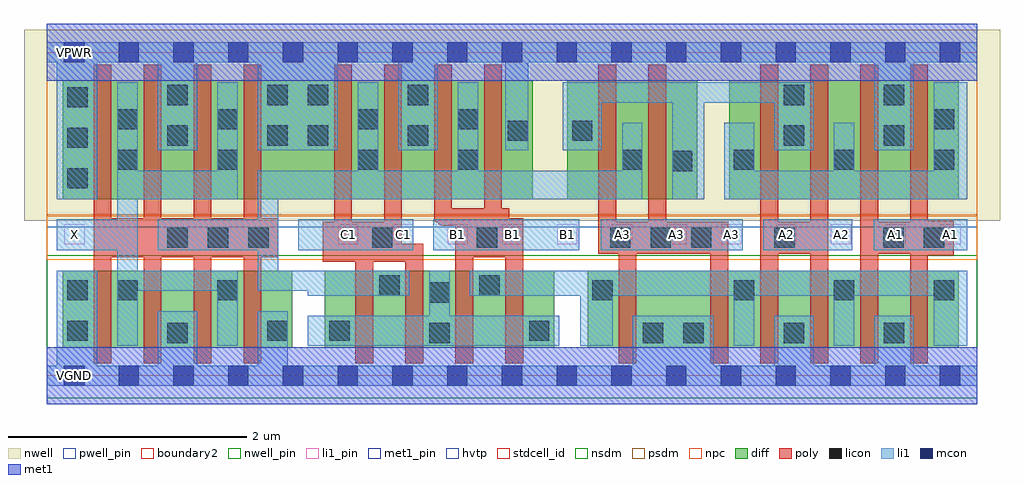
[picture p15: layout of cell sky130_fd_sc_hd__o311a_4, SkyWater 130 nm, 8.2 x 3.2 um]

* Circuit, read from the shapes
.subckt sky130_fd_sc_hd__o311a_4 A1 A2 A3 B1 C1 VGND VNB VPB VPWR X
XM1 X n1 VGND VNB sky130_fd_pr__nfet_01v8 w=0.65 l=0.15 m=4
XM2 n1 C1 n2 VNB sky130_fd_pr__nfet_01v8 w=0.65 l=0.15 m=2
XM3 n3 B1 n2 VNB sky130_fd_pr__nfet_01v8 w=0.65 l=0.15 m=2
XM4 VGND A3 n3 VNB sky130_fd_pr__nfet_01v8 w=0.65 l=0.15 m=2
XM5 VGND A2 n3 VNB sky130_fd_pr__nfet_01v8 w=0.65 l=0.15 m=2
XM6 VGND A1 n3 VNB sky130_fd_pr__nfet_01v8 w=0.65 l=0.15 m=2
XM7 X n1 VPWR VPB sky130_fd_pr__pfet_01v8_hvt w=1 l=0.15 m=4
XM8 n1 C1 VPWR VPB sky130_fd_pr__pfet_01v8_hvt w=1 l=0.15 m=2
XM9 n1 B1 VPWR VPB sky130_fd_pr__pfet_01v8_hvt w=1 l=0.15 m=2
XM10 n1 A3 n4 VPB sky130_fd_pr__pfet_01v8_hvt w=1 l=0.15 m=2
XM11 n4 A2 n5 VPB sky130_fd_pr__pfet_01v8_hvt w=1 l=0.15 m=2
XM12 VPWR A1 n5 VPB sky130_fd_pr__pfet_01v8_hvt w=1 l=0.15 m=2
.ends

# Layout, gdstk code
import gdstk
lib = gdstk.Library(unit=1e-6, precision=1e-09)
def R(c, l, rs):  # rectangles x0, y0, x1, y1
    for r in rs: c.add(gdstk.rectangle(r[:2], r[2:], *l))
def A(c, l, x, y, w, h, nx, ny, dx, dy):  # array of equal rectangles
    R(c, l, [(x+i*dx, y+j*dy, x+i*dx+w, y+j*dy+h) for i in range(nx) for j in range(ny)])
def P(c, l, *ps):  # polygons
    for p in ps: c.add(gdstk.Polygon(p, *l))
nwell_pin = (64, 16)
nwell = (64, 20)
diff = (65, 20)
poly = (66, 20)
licon = (66, 44)
li1_pin = (67, 16)
li1 = (67, 20)
mcon = (67, 44)
met1_pin = (68, 16)
met1 = (68, 20)
hvtp = (78, 44)
stdcell_id = (81, 4)
nsdm = (93, 44)
psdm = (94, 20)
npc = (95, 20)
pwell_pin = (122, 16)
boundary2 = (236, 0)

sky130_fd_sc_hd__o311a_4 = lib.new_cell('sky130_fd_sc_hd__o311a_4')
R(sky130_fd_sc_hd__o311a_4, nwell_pin, [(0.15,2.635,0.32,2.805)])
R(sky130_fd_sc_hd__o311a_4, nwell, [(-0.19,1.305,8.01,2.91)])
R(sky130_fd_sc_hd__o311a_4, diff, [(0.135,0.235,2.065,0.885), (2.335,0.235,4.265,0.885), (4.545,0.235,7.665,0.885), (0.135,1.485,4.085,2.485), (4.375,1.485,5.465,2.485), (5.735,1.485,7.665,2.485)])
P(sky130_fd_sc_hd__o311a_4, poly, [(5.725,1.295),(5.205,1.295),(5.205,2.615),(5.055,2.615),(5.055,1.295),(4.785,1.295),(4.785,2.615),(4.635,2.615),(4.635,1.025),(4.805,1.025),(4.805,0.105),(4.955,0.105),(4.955,1.025),(5.575,1.025),(5.575,0.105),(5.725,0.105)],
  [(4.005,1.325),(3.885,1.325),(3.885,1.41),(3.825,1.41),(3.825,2.615),(3.675,2.615),(3.675,1.41),(3.405,1.41),(3.405,2.615),(3.255,2.615),(3.255,1.3),(3.265,1.3),(3.265,1.295),(3.275,1.295),(3.275,1.29),(3.285,1.29),(3.285,1.285),(3.29,1.285),(3.29,1.28),(3.295,1.28),(3.295,1.275),(3.305,1.275),(3.305,1.27),(3.31,1.27),(3.31,1.265),(3.315,1.265),(3.315,1.26),(3.435,1.26),(3.435,0.105),(3.585,0.105),(3.585,0.995),(3.855,0.995),(3.855,0.105),(4.005,0.105)],
  [(3.165,1.11),(2.985,1.11),(2.985,2.615),(2.835,2.615),(2.835,1.295),(2.565,1.295),(2.565,2.615),(2.415,2.615),(2.415,1.295),(2.32,1.295),(2.32,0.96),(2.595,0.96),(2.595,0.105),(2.745,0.105),(2.745,0.96),(3.015,0.96),(3.015,0.105),(3.165,0.105)],
  [(7.62,1.305),(7.405,1.305),(7.405,2.615),(7.255,2.615),(7.255,1.295),(6.985,1.295),(6.985,2.615),(6.835,2.615),(6.835,0.105),(6.985,0.105),(6.985,1.025),(7.255,1.025),(7.255,0.105),(7.405,0.105),(7.405,1.015),(7.62,1.015)],
  [(1.945,1.325),(1.805,1.325),(1.805,2.615),(1.655,2.615),(1.655,1.325),(1.385,1.325),(1.385,2.615),(1.235,2.615),(1.235,1.325),(0.965,1.325),(0.965,2.615),(0.815,2.615),(0.815,1.325),(0.545,1.325),(0.545,2.615),(0.395,2.615),(0.395,0.105),(0.545,0.105),(0.545,0.995),(0.815,0.995),(0.815,0.105),(0.965,0.105),(0.965,0.995),(1.235,0.995),(1.235,0.105),(1.385,0.105),(1.385,0.995),(1.655,0.995),(1.655,0.105),(1.805,0.105),(1.805,0.995),(1.945,0.995)],
  [(6.565,2.615),(6.415,2.615),(6.415,1.295),(6.145,1.295),(6.145,2.615),(5.995,2.615),(5.995,0.105),(6.145,0.105),(6.145,1.025),(6.415,1.025),(6.415,0.105),(6.565,0.105)])
A(sky130_fd_sc_hd__o311a_4, licon, 5.775, 0.635, 0.17, 0.17, 3, 2, 0.84, 1.095)
A(sky130_fd_sc_hd__o311a_4, licon, 1.015, 1.075, 0.17, 0.17, 3, 1, 0.34, 0)
A(sky130_fd_sc_hd__o311a_4, licon, 4.735, 1.075, 0.17, 0.17, 3, 1, 0.34, 0)
A(sky130_fd_sc_hd__o311a_4, licon, 0.175, 1.575, 0.17, 0.17, 1, 3, 0, 0.34)
R(sky130_fd_sc_hd__o311a_4, licon, [(1.015,0.275,1.185,0.445), (3.215,0.275,3.385,0.445), (5.01,0.275,5.18,0.445), (5.35,0.275,5.52,0.445), (6.195,0.275,6.365,0.445), (7.035,0.275,7.205,0.445), (0.175,0.295,0.345,0.465), (1.855,0.295,2.025,0.465), (2.375,0.295,2.545,0.465), (4.055,0.295,4.225,0.465), (3.215,0.615,3.385,0.785), (0.175,0.635,0.345,0.805), (0.595,0.635,0.765,0.805), (1.435,0.635,1.605,0.805), (4.585,0.635,4.755,0.805), (2.795,0.675,2.965,0.845), (3.635,0.675,3.805,0.845), (2.735,1.075,2.905,1.245), (3.615,1.075,3.785,1.245), (6.115,1.075,6.285,1.245), (7.03,1.075,7.2,1.245), (7.37,1.075,7.54,1.245), (5.255,1.72,5.425,1.89), (0.595,1.73,0.765,1.9), (1.435,1.73,1.605,1.9), (2.615,1.73,2.785,1.9), (3.455,1.73,3.625,1.9), (4.835,1.73,5.005,1.9), (1.015,1.935,1.185,2.105), (1.855,1.935,2.025,2.105), (2.195,1.935,2.365,2.105), (3.035,1.935,3.205,2.105), (6.195,1.935,6.365,2.105), (7.035,1.935,7.205,2.105), (3.875,1.975,4.045,2.145), (4.415,1.975,4.585,2.145), (0.595,2.07,0.765,2.24), (1.435,2.07,1.605,2.24), (2.615,2.07,2.785,2.24), (3.455,2.07,3.625,2.24), (7.455,2.07,7.625,2.24), (1.015,2.275,1.185,2.445), (1.855,2.275,2.025,2.445), (2.195,2.275,2.365,2.445), (3.035,2.275,3.205,2.445), (6.195,2.275,6.365,2.445), (7.035,2.275,7.205,2.445)])
A(sky130_fd_sc_hd__o311a_4, li1_pin, 2.45, 1.105, 0.17, 0.17, 12, 1, 0.46, 0)
R(sky130_fd_sc_hd__o311a_4, li1_pin, [(0.15,1.105,0.32,1.275)])
R(sky130_fd_sc_hd__o311a_4, li1, [(2.115,1.055,3.08,1.315), (3.25,1.055,4.475,1.315), (4.655,1.055,5.85,1.315), (6.02,1.055,6.77,1.315), (6.95,1.055,7.735,1.315)])
P(sky130_fd_sc_hd__o311a_4, li1, [(7.735,0.885),(3.555,0.885),(3.555,0.675),(4.485,0.675),(4.485,0.255),(4.755,0.255),(4.755,0.675),(5.775,0.675),(5.775,0.255),(5.945,0.255),(5.945,0.675),(6.615,0.675),(6.615,0.255),(6.785,0.255),(6.785,0.675),(7.455,0.675),(7.455,0.255),(7.735,0.255)],
  [(7.735,2.465),(7.455,2.465),(7.455,1.725),(6.785,1.725),(6.785,2.125),(6.615,2.125),(6.615,1.725),(5.945,1.725),(5.945,2.125),(5.695,2.125),(5.695,1.485),(7.735,1.485)],
  [(5.005,2.125),(4.835,2.125),(4.835,1.725),(3.625,1.725),(3.625,2.465),(3.455,2.465),(3.455,1.725),(2.785,1.725),(2.785,2.465),(2.615,2.465),(2.615,1.725),(1.775,1.725),(1.775,1.315),(0.935,1.315),(0.935,1.055),(1.775,1.055),(1.775,0.715),(2.195,0.715),(2.195,0.675),(3.045,0.675),(3.045,0.885),(1.945,0.885),(1.945,1.485),(5.005,1.485)],
  [(7.82,2.805),(0,2.805),(0,2.635),(0.085,2.635),(0.085,1.485),(0.425,1.485),(0.425,2.635),(0.935,2.635),(0.935,1.895),(1.265,1.895),(1.265,2.635),(1.775,2.635),(1.775,1.895),(2.445,1.895),(2.445,2.635),(2.955,2.635),(2.955,1.895),(3.285,1.895),(3.285,2.635),(3.855,2.635),(3.855,1.895),(4.045,1.895),(4.045,2.635),(6.955,2.635),(6.955,1.895),(7.285,1.895),(7.285,2.635),(7.82,2.635)],
  [(6.445,2.465),(4.335,2.465),(4.335,1.895),(4.665,1.895),(4.665,2.295),(5.255,2.295),(5.255,1.485),(5.525,1.485),(5.525,2.295),(6.115,2.295),(6.115,1.895),(6.445,1.895)],
  [(4.305,0.505),(3.385,0.505),(3.385,0.885),(3.215,0.885),(3.215,0.505),(2.195,0.505),(2.195,0.255),(4.305,0.255)],
  [(7.82,0.085),(7.285,0.085),(7.285,0.505),(6.955,0.505),(6.955,0.085),(6.445,0.085),(6.445,0.505),(6.115,0.505),(6.115,0.085),(5.605,0.085),(5.605,0.505),(4.925,0.505),(4.925,0.085),(2.025,0.085),(2.025,0.545),(1.775,0.545),(1.775,0.085),(1.265,0.085),(1.265,0.545),(0.935,0.545),(0.935,0.085),(0.425,0.085),(0.425,0.885),(0.085,0.885),(0.085,0.085),(0,0.085),(0,-0.085),(7.82,-0.085)],
  [(1.605,0.885),(0.765,0.885),(0.765,1.485),(1.605,1.485),(1.605,2.465),(1.435,2.465),(1.435,1.725),(0.765,1.725),(0.765,2.465),(0.595,2.465),(0.595,1.315),(0.085,1.315),(0.085,1.055),(0.595,1.055),(0.595,0.255),(0.765,0.255),(0.765,0.715),(1.435,0.715),(1.435,0.255),(1.605,0.255)])
A(sky130_fd_sc_hd__o311a_4, mcon, 0.145, -0.085, 0.17, 0.17, 17, 2, 0.46, 2.72)
R(sky130_fd_sc_hd__o311a_4, met1_pin, [(0.15,-0.085,0.32,0.085), (0.15,2.635,0.32,2.805)])
R(sky130_fd_sc_hd__o311a_4, hvtp, [(0,1.25,7.82,2.72)])
R(sky130_fd_sc_hd__o311a_4, stdcell_id, [(0,0,7.82,2.72)])
R(sky130_fd_sc_hd__o311a_4, nsdm, [(0,-0.19,7.82,1.015)])
R(sky130_fd_sc_hd__o311a_4, psdm, [(0,1.355,7.82,2.91)])
R(sky130_fd_sc_hd__o311a_4, npc, [(0,0.975,7.82,1.345)])
R(sky130_fd_sc_hd__o311a_4, pwell_pin, [(0.15,-0.085,0.32,0.085)])
R(sky130_fd_sc_hd__o311a_4, boundary2, [(0,0,7.82,2.72)])
sky130_fd_sc_hd__o311a_4.add(gdstk.FlexPath([(0,2.72),(7.82,2.72)], 0.48, ends="flush", simple_path=True, layer=68, datatype=20))  # met1
sky130_fd_sc_hd__o311a_4.add(gdstk.FlexPath([(0,0),(7.82,0)], 0.48, ends="flush", simple_path=True, layer=68, datatype=20))  # met1
sky130_fd_sc_hd__o311a_4.add(gdstk.Label('A1', (7.595,1.19), layer=67, texttype=5))
sky130_fd_sc_hd__o311a_4.add(gdstk.Label('A1', (7.135,1.19), layer=67, texttype=5))
sky130_fd_sc_hd__o311a_4.add(gdstk.Label('A2', (6.675,1.19), layer=67, texttype=5))
sky130_fd_sc_hd__o311a_4.add(gdstk.Label('A3', (5.755,1.19), layer=67, texttype=5))
sky130_fd_sc_hd__o311a_4.add(gdstk.Label('A3', (5.295,1.19), layer=67, texttype=5))
sky130_fd_sc_hd__o311a_4.add(gdstk.Label('A3', (4.835,1.19), layer=67, texttype=5))
sky130_fd_sc_hd__o311a_4.add(gdstk.Label('B1', (4.375,1.19), layer=67, texttype=5))
sky130_fd_sc_hd__o311a_4.add(gdstk.Label('B1', (3.915,1.19), layer=67, texttype=5))
sky130_fd_sc_hd__o311a_4.add(gdstk.Label('B1', (3.455,1.19), layer=67, texttype=5))
sky130_fd_sc_hd__o311a_4.add(gdstk.Label('C1', (2.995,1.19), layer=67, texttype=5))
sky130_fd_sc_hd__o311a_4.add(gdstk.Label('C1', (2.535,1.19), layer=67, texttype=5))
sky130_fd_sc_hd__o311a_4.add(gdstk.Label('X', (0.235,1.19), layer=67, texttype=5))
sky130_fd_sc_hd__o311a_4.add(gdstk.Label('A2', (6.215,1.19), layer=67, texttype=5))
sky130_fd_sc_hd__o311a_4.add(gdstk.Label('VPWR', (0.235,2.72), layer=68, texttype=5))
sky130_fd_sc_hd__o311a_4.add(gdstk.Label('VGND', (0.235,0), layer=68, texttype=5))
sky130_fd_sc_hd__o311a_4.add(gdstk.Label('VPB', (0.235,2.72), layer=64, texttype=5))
sky130_fd_sc_hd__o311a_4.add(gdstk.Label('VNB', (0.235,0), layer=64, texttype=59))
sky130_fd_sc_hd__o311a_4.add(gdstk.Label('o311a_4', (0,0), layer=83, texttype=44))

lib.write_gds('sky130_fd_sc_hd__o311a_4.gds')
